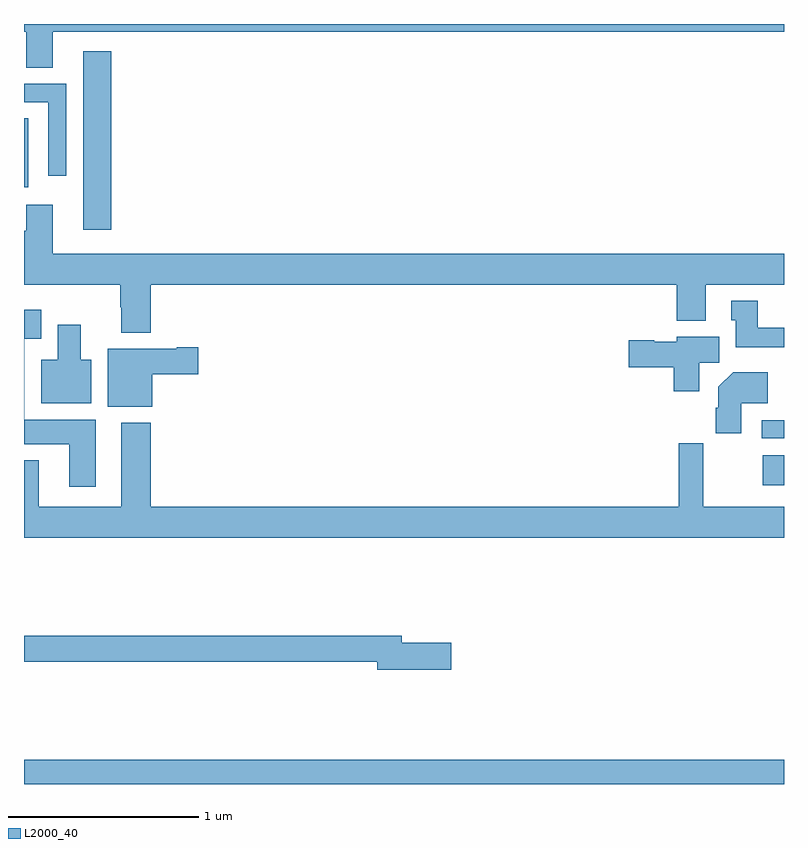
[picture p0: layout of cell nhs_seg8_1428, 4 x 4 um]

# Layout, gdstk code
import gdstk
lib = gdstk.Library(unit=1e-6, precision=1e-09)
def R(c, l, rs):  # rectangles x0, y0, x1, y1
    for r in rs: c.add(gdstk.rectangle(r[:2], r[2:], *l))
def P(c, l, *ps):  # polygons
    for p in ps: c.add(gdstk.Polygon(p, *l))
L2000_40 = (2000, 40)

nhs_seg8_1428 = lib.new_cell('nhs_seg8_1428')
R(nhs_seg8_1428, L2000_40, [(203,1085.9,207,1086.028), (206.889,1087.472,207,1087.63), (206.883,1087.719,207,1087.815), (203.312,1088.817,203.459,1089.757), (203,1089.042,203.023,1089.404)])
P(nhs_seg8_1428, L2000_40, [(203.152,1089.86),(207,1089.86),(207,1089.9),(203,1089.9),(203,1089.86),(203.012,1089.86),(203.012,1089.67),(203.152,1089.67)],
  [(203.223,1089.585),(203,1089.585),(203,1089.489),(203.127,1089.489),(203.127,1089.102),(203.223,1089.102)],
  [(203.666,1088.528),(206.435,1088.528),(206.435,1088.339),(206.587,1088.339),(206.587,1088.528),(207,1088.528),(207,1088.692),(203.152,1088.692),(203.152,1088.95),(203.012,1088.95),(203.012,1088.813),(203,1088.813),(203,1088.528),(203.506,1088.528),(203.506,1088.408),(203.513,1088.408),(203.513,1088.276),(203.666,1088.276)],
  [(207,1088.302),(206.863,1088.302),(206.863,1088.443),(206.723,1088.443),(206.723,1088.34),(206.747,1088.34),(206.747,1088.198),(207,1088.198)],
  [(203.377,1087.816),(203.002,1087.816),(203.002,1088.243),(203.092,1088.243),(203.092,1088.395),(203,1088.395),(203,1087.688),(203.237,1087.688),(203.237,1087.464),(203.377,1087.464)],
  [(203.353,1088.134),(203.299,1088.134),(203.299,1088.317),(203.177,1088.317),(203.177,1088.134),(203.09,1088.134),(203.09,1087.904),(203.353,1087.904)],
  [(206.554,1088.116),(206.659,1088.116),(206.659,1088.254),(206.436,1088.254),(206.436,1088.227),(206.316,1088.227),(206.316,1088.235),(206.184,1088.235),(206.184,1088.093),(206.42,1088.093),(206.42,1087.968),(206.554,1087.968)],
  [(203.674,1088.057),(203.917,1088.057),(203.917,1088.199),(203.804,1088.199),(203.804,1088.191),(203.441,1088.191),(203.441,1087.886),(203.674,1087.886)],
  [(206.776,1087.904),(206.915,1087.904),(206.915,1088.068),(206.732,1088.068),(206.654,1087.99),(206.654,1087.88),(206.642,1087.88),(206.642,1087.746),(206.776,1087.746)],
  [(207,1087.36),(206.575,1087.36),(206.575,1087.693),(206.446,1087.693),(206.446,1087.36),(203.666,1087.36),(203.666,1087.801),(203.513,1087.801),(203.513,1087.36),(203.077,1087.36),(203.077,1087.603),(203,1087.603),(203,1087.196),(207,1087.196)],
  [(205.249,1086.644),(204.988,1086.644),(204.988,1086.68),(203,1086.68),(203,1086.544),(204.86,1086.544),(204.86,1086.502),(205.249,1086.502)])

lib.write_gds('nhs_seg8_1428.gds')
